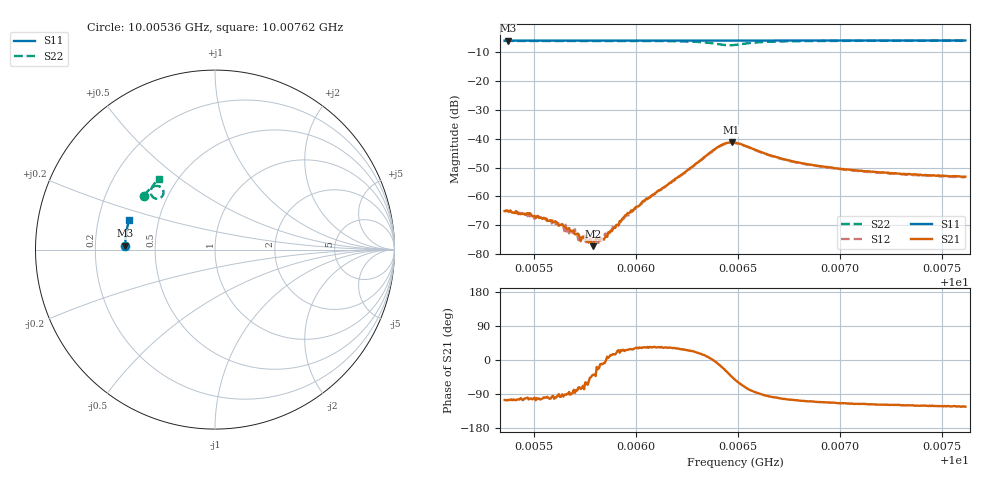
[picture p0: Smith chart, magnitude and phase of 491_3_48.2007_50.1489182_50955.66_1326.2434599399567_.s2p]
#  HZ  S  RI  R  50.00
! Rohde & Schwarz Vector Network Analyzer
! Rohde-Schwarz,ZNB20-2Port,1311601062101988,3.16
! Created: UTC 3/20/2024, 11:58:04 AM
! freq[Hz]  re:S11  im:S11  re:S21  im:S21  re:S12  im:S12  re:S22  im:S22
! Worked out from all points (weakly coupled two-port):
!   401 points, 10.00536 GHz to 10.00762 GHz, reference 50 ohm
!   highest |S21| = -41.27 dB at 10.00647 GHz (marker M1); lowest = -77.3 dB at 10.00579 GHz (marker M2)
!   lowest |S11| = -6.0 dB at 10.00537 GHz (marker M3), VSWR 3.01, Z = 16.6 + j0.939 ohm
!   |S11| at or under -10 dB: nowhere
!   |S22| runs from -7.6 to -6.0 dB; largest |S21 - S12| = 0.00054
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1.0005356e10  -0.5005 0.02  -0.000149 -0.000535  -9.61e-05 -0.000534  -0.3963 0.2981
1.0005373e10  -0.5004 0.0211  -0.000146 -0.000529  -0.000121 -0.000539  -0.3956 0.2991
1.0005475e10  -0.5003 0.0278  -0.000121 -0.000479  -0.000107 -0.000454  -0.3914 0.305
1.0005599e10  -0.5001 0.036  -7.61e-05 -0.00035  -1.87e-05 -0.000356  -0.3859 0.3124
1.000569e10  -0.4997 0.042  1.17e-05 -0.000255  2.35e-05 -0.000218  -0.3817 0.318
1.0005718e10  -0.4997 0.0438  6.71e-05 -0.000213  4.3e-05 -0.000168  -0.38 0.3198
1.0005735e10  -0.4996 0.0448  5.42e-05 -0.000186  9.1e-05 -0.000164  -0.3793 0.3209
1.0005763e10  -0.4995 0.0465  6.87e-05 -0.000151  0.000101 -0.000175  -0.3778 0.3225
1.0005774e10  -0.4994 0.0474  0.000123 -0.000132  0.000127 -0.000113  -0.3772 0.3232
1.0005791e10  -0.4995 0.0483  0.000107 -8.53e-05  9.51e-05 -0.000113  -0.3763 0.3243
1.0005803e10  -0.4993 0.049  0.000128 -0.000117  0.000167 -7.61e-05  -0.3757 0.3249
1.0005825e10  -0.4992 0.0506  0.00017 -3.29e-05  0.00017 -7.08e-05  -0.3746 0.3264
1.0005848e10  -0.499 0.0521  0.000189 -2.56e-05  0.000223 2.09e-06  -0.3732 0.3278
1.0005944e10  -0.4986 0.0581  0.000409 0.00018  0.000365 0.000217  -0.367 0.3341
1.0006113e10  -0.4976 0.0693  0.00106 0.000717  0.000998 0.000759  -0.3528 0.3458
1.0006395e10  -0.4947 0.0874  0.00686 -0.000801  0.00674 -0.000456  -0.2894 0.332
1.0006469e10  -0.494 0.0915  0.00626 -0.00595  0.00644 -0.00545  -0.3031 0.2887
1.0006486e10  -0.4938 0.0925  0.00526 -0.00674  0.00553 -0.0063  -0.3136 0.2843
1.00067e10  -0.4922 0.1063  -0.000832 -0.0046  -0.000611 -0.00453  -0.3578 0.328
1.0006864e10  -0.4902 0.1166  -0.00116 -0.00331  -0.000995 -0.00329  -0.3503 0.3484
1.0007243e10  -0.4847 0.1407  -0.0012 -0.00222  -0.00106 -0.00225  -0.3305 0.3751
1.0007615e10  -0.4782 0.1637  -0.0012 -0.00183  -0.00108 -0.00186  -0.3112 0.3944
